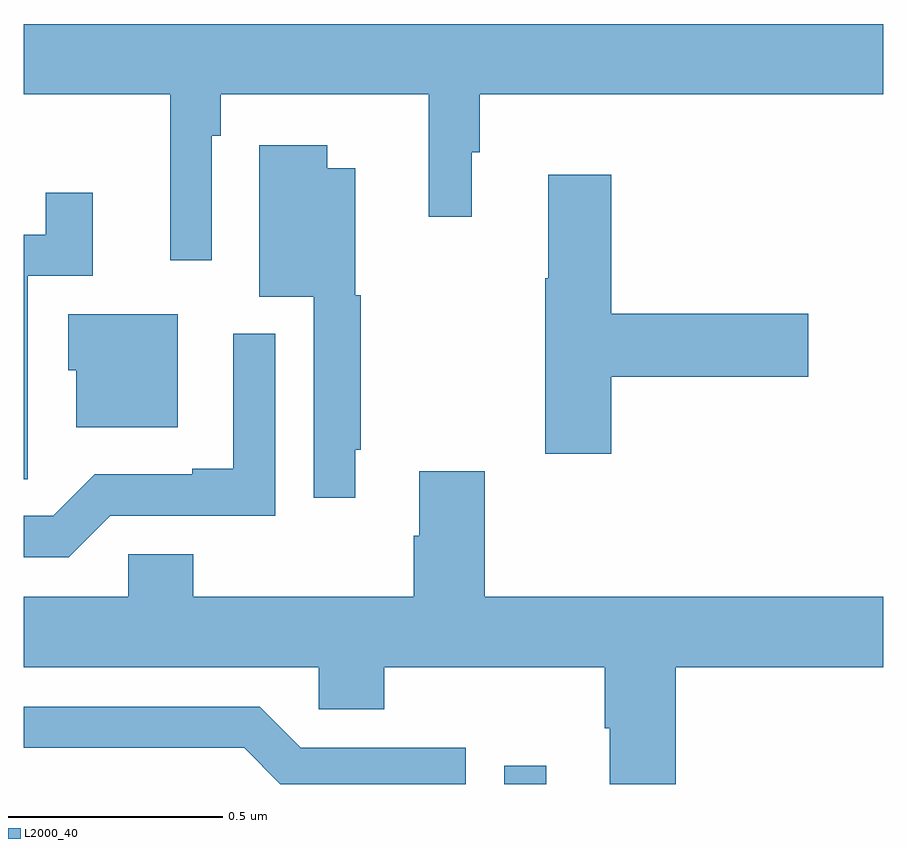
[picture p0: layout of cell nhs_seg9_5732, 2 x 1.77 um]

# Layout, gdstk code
import gdstk
lib = gdstk.Library(unit=1e-6, precision=1e-09)
def R(c, l, rs):  # rectangles x0, y0, x1, y1
    for r in rs: c.add(gdstk.rectangle(r[:2], r[2:], *l))
def P(c, l, *ps):  # polygons
    for p in ps: c.add(gdstk.Polygon(p, *l))
L2000_40 = (2000, 40)

nhs_seg9_5732 = lib.new_cell('nhs_seg9_5732')
R(nhs_seg9_5732, L2000_40, [(184.118,1177.5,184.216,1177.543)])
P(nhs_seg9_5732, L2000_40, [(183.438,1179.008),(183.458,1179.008),(183.458,1179.104),(183.943,1179.104),(183.943,1178.82),(184.042,1178.82),(184.042,1178.97),(184.061,1178.97),(184.061,1179.104),(185,1179.104),(185,1179.268),(183,1179.268),(183,1179.104),(183.341,1179.104),(183.341,1178.718),(183.438,1178.718)],
  [(183.772,1178.278),(183.784,1178.278),(183.784,1178.637),(183.772,1178.637),(183.772,1178.932),(183.706,1178.932),(183.706,1178.986),(183.548,1178.986),(183.548,1178.633),(183.675,1178.633),(183.675,1178.166),(183.772,1178.166)],
  [(184.367,1178.447),(184.825,1178.447),(184.825,1178.594),(184.367,1178.594),(184.367,1178.917),(184.22,1178.917),(184.22,1178.677),(184.213,1178.677),(184.213,1178.268),(184.367,1178.268)],
  [(183.009,1178.32),(183.01,1178.32),(183.01,1178.682),(183.161,1178.682),(183.161,1178.875),(183.052,1178.875),(183.052,1178.778),(183,1178.778),(183,1178.209),(183.009,1178.209)],
  [(183.358,1178.593),(183.104,1178.593),(183.104,1178.463),(183.122,1178.463),(183.122,1178.33),(183.358,1178.33)],
  [(183.201,1178.124),(183.585,1178.124),(183.585,1178.548),(183.488,1178.548),(183.488,1178.233),(183.392,1178.233),(183.392,1178.22),(183.165,1178.22),(183.069,1178.124),(183,1178.124),(183,1178.028),(183.105,1178.028)],
  [(184.517,1177.772),(185,1177.772),(185,1177.936),(184.073,1177.936),(184.073,1178.227),(183.92,1178.227),(183.92,1178.078),(183.908,1178.078),(183.908,1177.936),(183.395,1177.936),(183.395,1178.034),(183.243,1178.034),(183.243,1177.936),(183,1177.936),(183,1177.772),(183.687,1177.772),(183.687,1177.674),(183.839,1177.674),(183.839,1177.772),(184.352,1177.772),(184.352,1177.63),(184.364,1177.63),(184.364,1177.5),(184.517,1177.5)],
  [(184.029,1177.584),(183.645,1177.584),(183.549,1177.68),(183,1177.68),(183,1177.584),(183.513,1177.584),(183.597,1177.5),(184.029,1177.5)])

lib.write_gds('nhs_seg9_5732.gds')
